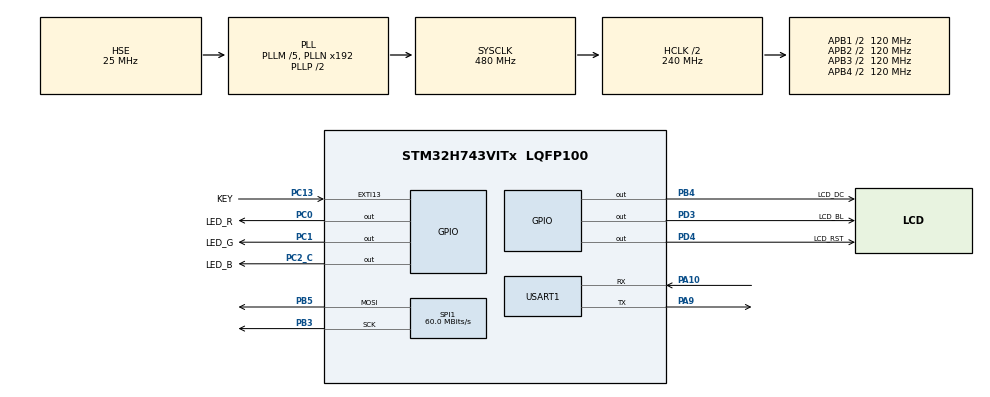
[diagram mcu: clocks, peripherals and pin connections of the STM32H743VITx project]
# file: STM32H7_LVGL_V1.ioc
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CORTEX_M7.CPU_DCache=Enabled
CORTEX_M7.CPU_ICache=Enabled
CORTEX_M7.default_mode_Activation=1
Dma.Request0=SPI1_TX
Dma.SPI1_TX.0.Direction=DMA_MEMORY_TO_PERIPH
Dma.SPI1_TX.0.EventEnable=DISABLE
Dma.SPI1_TX.0.FIFOMode=DMA_FIFOMODE_DISABLE
Dma.SPI1_TX.0.Instance=DMA1_Stream1
Dma.SPI1_TX.0.MemDataAlignment=DMA_MDATAALIGN_HALFWORD
Dma.SPI1_TX.0.MemInc=DMA_MINC_ENABLE
Dma.SPI1_TX.0.Mode=DMA_NORMAL
Dma.SPI1_TX.0.PeriphDataAlignment=DMA_PDATAALIGN_HALFWORD
Dma.SPI1_TX.0.PeriphInc=DMA_PINC_DISABLE
Dma.SPI1_TX.0.Polarity=HAL_DMAMUX_REQ_GEN_RISING
Dma.SPI1_TX.0.Priority=DMA_PRIORITY_HIGH
Dma.SPI1_TX.0.RequestNumber=1
Dma.SPI1_TX.0.SignalID=NONE
Dma.SPI1_TX.0.SyncEnable=DISABLE
Dma.SPI1_TX.0.SyncPolarity=HAL_DMAMUX_SYNC_NO_EVENT
Dma.SPI1_TX.0.SyncRequestNumber=1
Dma.SPI1_TX.0.SyncSignalID=NONE
IWDG1.Prescaler=IWDG_PRESCALER_256
IWDG1.Reload=500
Mcu.Family=STM32H7
Mcu.Name=STM32H743VITx
Mcu.Package=LQFP100
NVIC.DMA1_Stream1_IRQn=true\:0\:0\:true\:false\:true\:false\:true\:true
NVIC.EXTI15_10_IRQn=true\:4\:0\:true\:false\:true\:true\:true\:true
NVIC.PriorityGroup=NVIC_PRIORITYGROUP_4
NVIC.SPI1_IRQn=true\:1\:0\:true\:false\:true\:false\:true\:true
NVIC.TIM7_IRQn=true\:3\:0\:true\:false\:true\:true\:true\:true
NVIC.TIM8_TRG_COM_TIM14_IRQn=true\:1\:0\:true\:false\:true\:true\:true\:true
PA10.Mode=Asynchronous
PA10.Signal=USART1_RX
PA13\ (JTMS/SWDIO).Mode=Serial_Wire
PA13\ (JTMS/SWDIO).Signal=DEBUG_JTMS-SWDIO
PA14\ (JTCK/SWCLK).Mode=Serial_Wire
PA14\ (JTCK/SWCLK).Signal=DEBUG_JTCK-SWCLK
PA9.Mode=Asynchronous
PA9.Signal=USART1_TX
PB3\ (JTDO/TRACESWO).GPIO_Speed=GPIO_SPEED_FREQ_VERY_HIGH
PB3\ (JTDO/TRACESWO).Mode=TX_Only_Simplex_Unidirect_Master
PB3\ (JTDO/TRACESWO).Signal=SPI1_SCK
PB4\ (NJTRST).GPIO_Label=LCD_DC
PB4\ (NJTRST).Signal=GPIO_Output
PB5.GPIO_Speed=GPIO_SPEED_FREQ_VERY_HIGH
PB5.Mode=TX_Only_Simplex_Unidirect_Master
PB5.Signal=SPI1_MOSI
PC0.GPIO_Label=LED_R
PC0.GPIO_PuPd=GPIO_PULLUP
PC0.Signal=GPIO_Output
PC1.GPIO_Label=LED_G
PC1.GPIO_PuPd=GPIO_PULLUP
PC1.Signal=GPIO_Output
PC13.GPIO_Label=KEY
PC13.Signal=GPXTI13
PC2_C.GPIO_Label=LED_B
PC2_C.GPIO_PuPd=GPIO_PULLUP
PC2_C.Signal=GPIO_Output
PD3.GPIO_Label=LCD_BL
PD3.Signal=GPIO_Output
PD4.GPIO_Label=LCD_RST
PD4.Signal=GPIO_Output
PH0-OSC_IN\ (PH0).Mode=HSE-External-Oscillator
PH0-OSC_IN\ (PH0).Signal=RCC_OSC_IN
PH1-OSC_OUT\ (PH1).Mode=HSE-External-Oscillator
PH1-OSC_OUT\ (PH1).Signal=RCC_OSC_OUT
ProjectManager.HeapSize=0x200
ProjectManager.StackSize=0x400
ProjectManager.TargetToolchain=Makefile
RCC.ADCFreq_Value=120000000
RCC.APB1Freq_Value=120000000
RCC.APB2Freq_Value=120000000
RCC.APB3Freq_Value=120000000
RCC.APB4Freq_Value=120000000
RCC.CortexFreq_Value=480000000
RCC.D1PPRE=RCC_APB3_DIV2
RCC.D2PPRE1=RCC_APB1_DIV2
RCC.D2PPRE2=RCC_APB2_DIV2
RCC.D3PPRE=RCC_APB4_DIV2
RCC.DIVM1=5
RCC.DIVM2=5
RCC.DIVN1=192
RCC.DIVN2=120
RCC.DIVP2=5
RCC.DIVQ1=8
RCC.DIVR2=6
RCC.FLatency=FLASH_LATENCY_4
RCC.HCLKFreq_Value=240000000
RCC.HPRE=RCC_HCLK_DIV2
RCC.HSE_VALUE=25000000
RCC.PLL1_VCI_Range=RCC_PLL1VCIRANGE_2
RCC.PLLFRACN=0
RCC.PLLSourceVirtual=RCC_PLLSOURCE_HSE
RCC.PWR_Regulator_Voltage_Scale=PWR_REGULATOR_VOLTAGE_SCALE0
RCC.RCC_MCODiv1=RCC_MCODIV_10
RCC.SPI123CLockSelection=RCC_SPI123CLKSOURCE_PLL2
RCC.SYSCLKFreq_VALUE=480000000
RCC.SYSCLKSource=RCC_SYSCLKSOURCE_PLLCLK
RCC.USBFreq_Value=120000000
SPI1.BaudRatePrescaler=SPI_BAUDRATEPRESCALER_2
SPI1.CLKPhase=SPI_PHASE_2EDGE
SPI1.CLKPolarity=SPI_POLARITY_HIGH
SPI1.CalculateBaudRate=60.0 MBits/s
SPI1.DataSize=SPI_DATASIZE_8BIT
SPI1.Direction=SPI_DIRECTION_2LINES_TXONLY
SPI1.Mode=SPI_MODE_MASTER
SPI1.VirtualType=VM_MASTER
TIM14.Period=999
TIM14.Prescaler=239
TIM7.AutoReloadPreload=TIM_AUTORELOAD_PRELOAD_DISABLE
TIM7.CounterMode=TIM_COUNTERMODE_UP
TIM7.Period=9999
TIM7.Prescaler=2399
TIM7.TIM_MasterOutputTrigger=TIM_TRGO_RESET
USART1.VirtualMode-Asynchronous=VM_ASYNC
VP_IWDG1_VS_IWDG.Mode=IWDG_Activate
VP_MEMORYMAP_VS_MEMORYMAP.Mode=CurAppReg
VP_TIM14_VS_ClockSourceINT.Mode=Enable_Timer
VP_TIM7_VS_ClockSourceINT.Mode=Enable_Timer
board=custom

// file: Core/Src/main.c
/* USER CODE BEGIN Header */
/**
  ******************************************************************************
  * @file           : main.c
  * @brief          : Main program body
  ******************************************************************************
  * @attention
  *
  * Copyright (c) 2025 STMicroelectronics.
  * All rights reserved.
  *
  * This software is licensed under terms that can be found in the LICENSE file
  * in the root directory of this software component.
  * If no LICENSE file comes with this software, it is provided AS-IS.
  *
  ******************************************************************************
  */
/* USER CODE END Header */
#include "main.h"
#include "dma.h"
#include "iwdg.h"
#include "memorymap.h"
#include "spi.h"
#include "tim.h"
#include "usart.h"
#include "gpio.h"

/* USER CODE BEGIN Includes */
#include "lcd.h"

#include "lvgl.h"
#include "lv_port_disp.h"
#include "lv_demos.h"
/* USER CODE END Includes */

void SystemClock_Config(void);
static void MPU_Config(void);

/* USER CODE BEGIN 0 */
void HAL_TIM_PeriodElapsedCallback(TIM_HandleTypeDef *htim)
{
  if (htim == &htim7)
  {
    HAL_IWDG_Refresh(&hiwdg1);
    HAL_GPIO_TogglePin(LED_B_GPIO_Port,LED_B_Pin);
  }
  if (htim == &htim14)
  {
    lv_tick_inc(1);
  }
}
/* USER CODE END 0 */

int main(void)
{

  /* MPU Configuration--------------------------------------------------------*/
  MPU_Config();

  /* Enable the CPU Cache */

  /* Enable I-Cache---------------------------------------------------------*/
  SCB_EnableICache();

  /* Enable D-Cache---------------------------------------------------------*/
  SCB_EnableDCache();

  /* MCU Configuration--------------------------------------------------------*/

  /* Reset of all peripherals, Initializes the Flash interface and the Systick. */
  HAL_Init();

  /* Configure the system clock */
  SystemClock_Config();

  /* Initialize all configured peripherals */
  MX_GPIO_Init();
  MX_DMA_Init();
  MX_TIM7_Init();
  MX_SPI1_Init();
  MX_TIM14_Init();
  MX_USART1_UART_Init();
  MX_IWDG1_Init();
  /* USER CODE BEGIN 2 */
  HAL_TIM_Base_Start_IT(&htim7);
  HAL_TIM_Base_Start_IT(&htim14);
  // LCD_Init();
  // LCD_Clear(RED);

  lv_init();
  lv_port_disp_init();
  lv_demo_benchmark();
  /* USER CODE END 2 */

  /* Infinite loop */
  /* USER CODE BEGIN WHILE */
  while (1)
  {
    lv_task_handler();
    HAL_Delay(5);
    /* USER CODE END WHILE */

  }
}

void SystemClock_Config(void)
{
  RCC_OscInitTypeDef RCC_OscInitStruct = {0};
  RCC_ClkInitTypeDef RCC_ClkInitStruct = {0};

  /** Supply configuration update enable
  */
  HAL_PWREx_ConfigSupply(PWR_LDO_SUPPLY);

  /** Configure the main internal regulator output voltage
  */
  __HAL_PWR_VOLTAGESCALING_CONFIG(PWR_REGULATOR_VOLTAGE_SCALE1);

  while(!__HAL_PWR_GET_FLAG(PWR_FLAG_VOSRDY)) {}

  __HAL_RCC_SYSCFG_CLK_ENABLE();
  __HAL_PWR_VOLTAGESCALING_CONFIG(PWR_REGULATOR_VOLTAGE_SCALE0);

  while(!__HAL_PWR_GET_FLAG(PWR_FLAG_VOSRDY)) {}

  /** Initializes the RCC Oscillators according to the specified parameters
  * in the RCC_OscInitTypeDef structure.
  */
  RCC_OscInitStruct.OscillatorType = RCC_OSCILLATORTYPE_LSI|RCC_OSCILLATORTYPE_HSE;
  RCC_OscInitStruct.HSEState = RCC_HSE_ON;
  RCC_OscInitStruct.LSIState = RCC_LSI_ON;
  RCC_OscInitStruct.PLL.PLLState = RCC_PLL_ON;
  RCC_OscInitStruct.PLL.PLLSource = RCC_PLLSOURCE_HSE;
  RCC_OscInitStruct.PLL.PLLM = 5;
  RCC_OscInitStruct.PLL.PLLN = 192;
  RCC_OscInitStruct.PLL.PLLP = 2;
  RCC_OscInitStruct.PLL.PLLQ = 8;
  RCC_OscInitStruct.PLL.PLLR = 2;
  RCC_OscInitStruct.PLL.PLLRGE = RCC_PLL1VCIRANGE_2;
  RCC_OscInitStruct.PLL.PLLVCOSEL = RCC_PLL1VCOWIDE;
  RCC_OscInitStruct.PLL.PLLFRACN = 0;
  if (HAL_RCC_OscConfig(&RCC_OscInitStruct) != HAL_OK)
  {
    Error_Handler();
  }

  /** Initializes the CPU, AHB and APB buses clocks
  */
  RCC_ClkInitStruct.ClockType = RCC_CLOCKTYPE_HCLK|RCC_CLOCKTYPE_SYSCLK
                              |RCC_CLOCKTYPE_PCLK1|RCC_CLOCKTYPE_PCLK2
                              |RCC_CLOCKTYPE_D3PCLK1|RCC_CLOCKTYPE_D1PCLK1;
  RCC_ClkInitStruct.SYSCLKSource = RCC_SYSCLKSOURCE_PLLCLK;
  RCC_ClkInitStruct.SYSCLKDivider = RCC_SYSCLK_DIV1;
  RCC_ClkInitStruct.AHBCLKDivider = RCC_HCLK_DIV2;
  RCC_ClkInitStruct.APB3CLKDivider = RCC_APB3_DIV2;
  RCC_ClkInitStruct.APB1CLKDivider = RCC_APB1_DIV2;
  RCC_ClkInitStruct.APB2CLKDivider = RCC_APB2_DIV2;
  RCC_ClkInitStruct.APB4CLKDivider = RCC_APB4_DIV2;

  if (HAL_RCC_ClockConfig(&RCC_ClkInitStruct, FLASH_LATENCY_4) != HAL_OK)
  {
    Error_Handler();
  }
}

 /* MPU Configuration */

void MPU_Config(void)
{
  MPU_Region_InitTypeDef MPU_InitStruct = {0};

  /* Disables the MPU */
  HAL_MPU_Disable();

  /** Initializes and configures the Region and the memory to be protected
  */
  MPU_InitStruct.Enable = MPU_REGION_ENABLE;
  MPU_InitStruct.Number = MPU_REGION_NUMBER0;
  MPU_InitStruct.BaseAddress = 0x0;
  MPU_InitStruct.Size = MPU_REGION_SIZE_4GB;
  MPU_InitStruct.SubRegionDisable = 0x87;
  MPU_InitStruct.TypeExtField = MPU_TEX_LEVEL0;
  MPU_InitStruct.AccessPermission = MPU_REGION_NO_ACCESS;
  MPU_InitStruct.DisableExec = MPU_INSTRUCTION_ACCESS_DISABLE;
  MPU_InitStruct.IsShareable = MPU_ACCESS_SHAREABLE;
  MPU_InitStruct.IsCacheable = MPU_ACCESS_NOT_CACHEABLE;
  MPU_InitStruct.IsBufferable = MPU_ACCESS_NOT_BUFFERABLE;

  HAL_MPU_ConfigRegion(&MPU_InitStruct);
  /* Enables the MPU */
  HAL_MPU_Enable(MPU_PRIVILEGED_DEFAULT);

}

void Error_Handler(void)
{
  __disable_irq();
  while (1)
  {
  }
}
